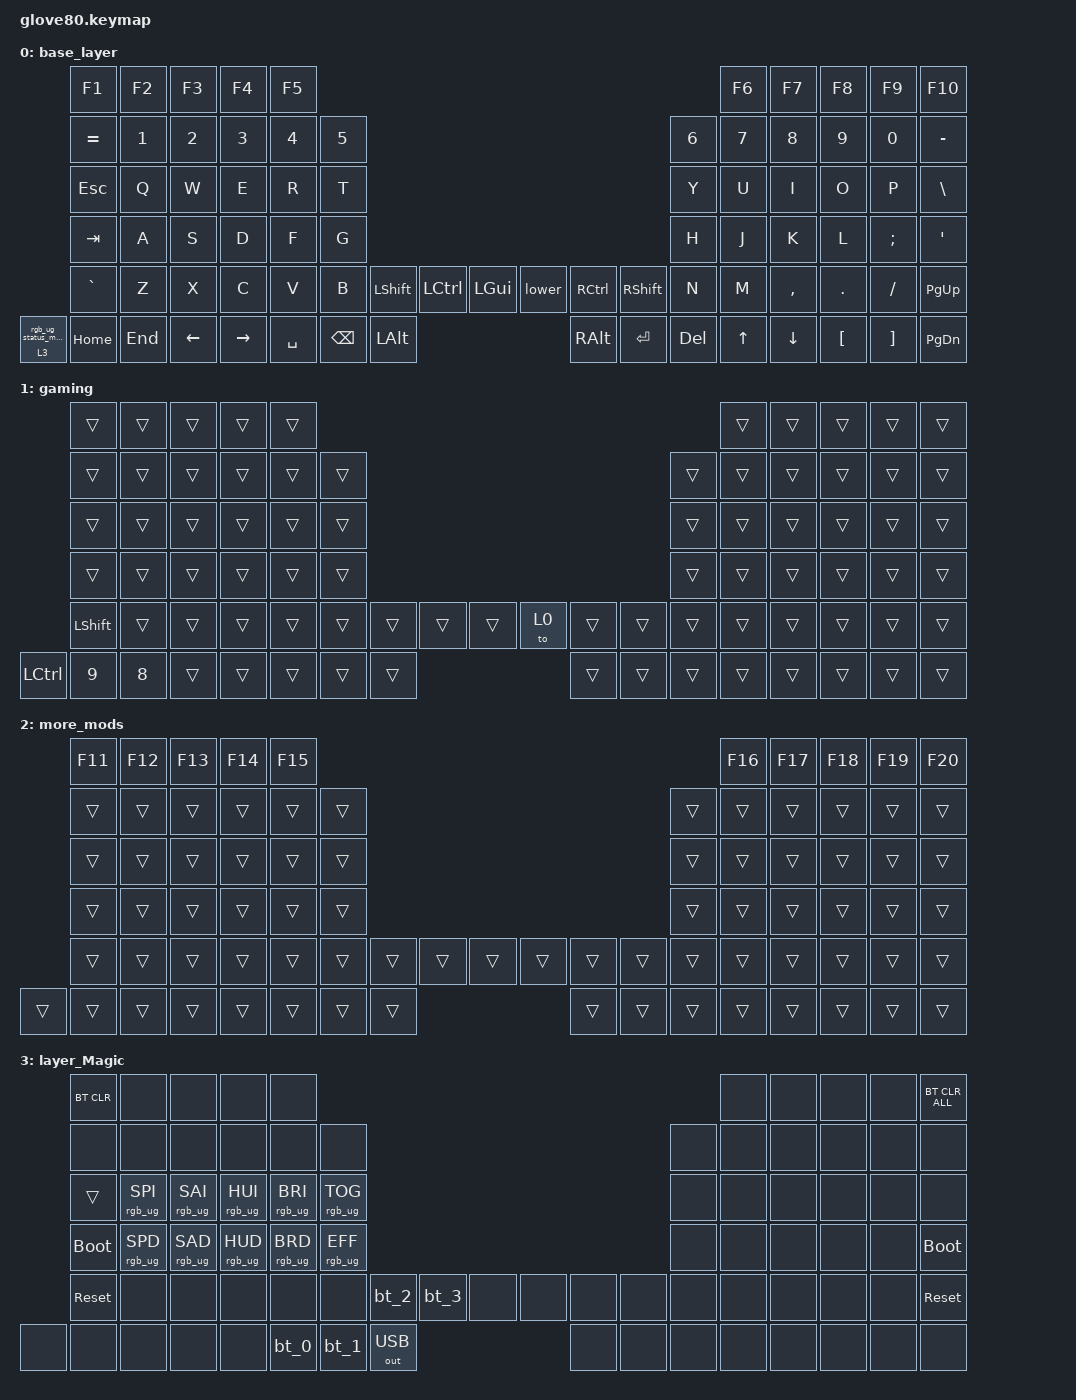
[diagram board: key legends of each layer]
/*
 * Copyright (c) 2020 The ZMK Contributors
 * Copyright (c) 2022 Innaworks Development Limited, trading as MoErgo
 *
 * SPDX-License-Identifier: MIT
 */
/* THIS FILE WAS GENERATED BY GLOVE80 LAYOUT EDITOR
 *
 * This file was generated automatically. You may or may not want to
 * edit it directly.
 */

#include <behaviors.dtsi>

/* Include all behaviour includes needed by system behaviors/macros */
/* Include behaviour includes needed by key binds - automatically generated */

#include <dt-bindings/zmk/bt.h>
#include <dt-bindings/zmk/keys.h>
#include <dt-bindings/zmk/outputs.h>
#include <dt-bindings/zmk/rgb.h>

/ {
    /* Glove80 system behavior & macros */

    behaviors {
        // For the "layer" key, it'd nice to be able to use it as either a shift or a toggle.
        // Configure it as a tap dance, so the first tap (or hold) is a &mo and the second tap is a &to

        lower: tap_dance_0 {
            compatible = "zmk,behavior-tap-dance";
            label = "LAYER_TAP_DANCE";
            #binding-cells = <0>;
            tapping-term-ms = <200>;
            bindings =
                <&mo 2>,
                <&to 1>;
        };
    };

    macros {
        rgb_ug_status_macro: rgb_ug_status_macro_0 {
            label = "RGB_UG_STATUS";
            compatible = "zmk,behavior-macro";
            #binding-cells = <0>;
            bindings = <&rgb_ug RGB_STATUS>;
        };
        bt_0: bt_profile_macro_0 {
            label = "BT_0";
            compatible = "zmk,behavior-macro";
            #binding-cells = <0>;
            bindings = <&out OUT_BLE &bt BT_SEL 0>;
        };
        bt_1: bt_profile_macro_1 {
            label = "BT_1";
            compatible = "zmk,behavior-macro";
            #binding-cells = <0>;
            bindings = <&out OUT_BLE &bt BT_SEL 1>;
        };
        bt_2: bt_profile_macro_2 {
            label = "BT_2";
            compatible = "zmk,behavior-macro";
            #binding-cells = <0>;
            bindings = <&out OUT_BLE &bt BT_SEL 2>;
        };
        bt_3: bt_profile_macro_3 {
            label = "BT_3";
            compatible = "zmk,behavior-macro";
            #binding-cells = <0>;
            bindings = <&out OUT_BLE &bt BT_SEL 3>;
        };
    };

    magic: magic_hold_tap {
        compatible = "zmk,behavior-hold-tap";
        label = "MAGIC_HOLD_TAP";
        #binding-cells = <2>;
        flavor = "tap-preferred";
        tapping-term-ms = <200>;
        bindings =
            <&mo>,
            <&rgb_ug_status_macro>;
    };

    /* Custom Defined Behaviors */
    /* Automatically generated keymap */

    combos {
        compatible = "zmk,combos";
        combo_f11 {
            timeout-ms = <50>;
            key-positions = <0 1>;
            bindings = <&kp F11>;
        };
        combo_f12 {
            timeout-ms = <50>;
            key-positions = <8 9>;
            bindings = <&kp F12>;
        };
    };

    keymap {
        compatible = "zmk,keymap";

        base_layer {
            bindings = <
    &kp F1    &kp F2   &kp F3    &kp F4     &kp F5                                                                                       &kp F6     &kp F7    &kp F8    &kp F9    &kp F10
 &kp EQUAL    &kp N1   &kp N2    &kp N3     &kp N4  &kp N5                                                                       &kp N6  &kp N7     &kp N8    &kp N9    &kp N0  &kp MINUS
   &kp ESC     &kp Q    &kp W     &kp E      &kp R   &kp T                                                                        &kp Y   &kp U      &kp I     &kp O     &kp P   &kp BSLH
   &kp TAB     &kp A    &kp S     &kp D      &kp F   &kp G                                                                        &kp H   &kp J      &kp K     &kp L  &kp SEMI    &kp SQT
 &kp GRAVE     &kp Z    &kp X     &kp C      &kp V   &kp B  &kp LSHFT      &kp LCTRL  &kp LGUI    &lower    &kp RCTRL   &kp RSHFT   &kp N   &kp M  &kp COMMA   &kp DOT  &kp FSLH  &kp PG_UP
&magic 3 0  &kp HOME  &kp END  &kp LEFT  &kp RIGHT          &kp SPACE  &kp BACKSPACE  &kp LALT  &kp RALT    &kp RET  &kp DELETE          &kp UP   &kp DOWN  &kp LBKT  &kp RBKT  &kp PG_DN
            >;
        };

        gaming {
            bindings = <
          &trans        &trans        &trans        &trans        &trans                                                                  &trans  &trans  &trans  &trans  &trans
          &trans        &trans        &trans        &trans        &trans  &trans                                                  &trans  &trans  &trans  &trans  &trans  &trans
          &trans        &trans        &trans        &trans        &trans  &trans                                                  &trans  &trans  &trans  &trans  &trans  &trans
          &trans        &trans        &trans        &trans        &trans  &trans                                                  &trans  &trans  &trans  &trans  &trans  &trans
      &kp LSHIFT        &trans        &trans        &trans        &trans  &trans  &trans  &trans  &trans  &to 0   &trans  &trans  &trans  &trans  &trans  &trans  &trans  &trans
&kp LEFT_CONTROL  &kp NUMBER_9  &kp NUMBER_8        &trans        &trans          &trans  &trans  &trans  &trans  &trans  &trans          &trans  &trans  &trans  &trans  &trans
            >;
        };

        more_mods {
            bindings = <
&kp F11  &kp F12  &kp F13  &kp F14  &kp F15                                                                  &kp F16  &kp F17  &kp F18  &kp F19  &kp F20
 &trans   &trans   &trans   &trans   &trans  &trans                                                  &trans   &trans   &trans   &trans   &trans   &trans
 &trans   &trans   &trans   &trans   &trans  &trans                                                  &trans   &trans   &trans   &trans   &trans   &trans
 &trans   &trans   &trans   &trans   &trans  &trans                                                  &trans   &trans   &trans   &trans   &trans   &trans
 &trans   &trans   &trans   &trans   &trans  &trans  &trans  &trans  &trans  &trans  &trans  &trans  &trans   &trans   &trans   &trans   &trans   &trans
 &trans   &trans   &trans   &trans   &trans          &trans  &trans  &trans  &trans  &trans  &trans           &trans   &trans   &trans   &trans   &trans
            >;
        };

        layer_Magic {
            bindings = <
 &bt BT_CLR            &none            &none            &none            &none                                                                           &none  &none  &none  &none  &bt BT_CLR_ALL
      &none            &none            &none            &none            &none            &none                                                   &none  &none  &none  &none  &none           &none
     &trans  &rgb_ug RGB_SPI  &rgb_ug RGB_SAI  &rgb_ug RGB_HUI  &rgb_ug RGB_BRI  &rgb_ug RGB_TOG                                                   &none  &none  &none  &none  &none           &none
&bootloader  &rgb_ug RGB_SPD  &rgb_ug RGB_SAD  &rgb_ug RGB_HUD  &rgb_ug RGB_BRD  &rgb_ug RGB_EFF                                                   &none  &none  &none  &none  &none     &bootloader
 &sys_reset            &none            &none            &none            &none            &none  &bt_2  &bt_3         &none  &none  &none  &none  &none  &none  &none  &none  &none      &sys_reset
      &none            &none            &none            &none            &none                   &bt_0  &bt_1  &out OUT_USB  &none  &none  &none         &none  &none  &none  &none           &none
            >;
        };
    };
};
